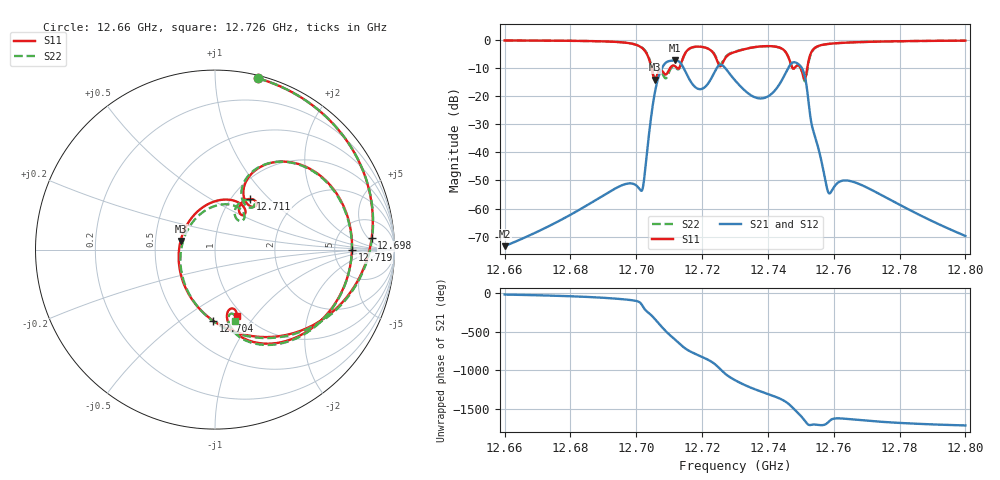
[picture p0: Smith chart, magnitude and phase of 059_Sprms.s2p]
! TOUCHSTONE file generated by CST MICROWAVE STUDIO
! Date and time: Wed Jul 31 13:40:07 2024
! Project name: WaveGuide_BPF-Ver4.1_U-shape_Ku_T3_C4_CWA_2.cst
! Parameters = {cavity_h=16; cavity_l0=10; cavity_l1=15.1774; cavity_l2=16.853; cavity_l3=17.1206; cavity_l4=17.2337; cavity_l5=17.166; cavity_l6=17.5871; cavity_r=2.5; cavity_screw_l=0.5; cavity_screw_r=1.5; cavity_w=8; iris_h00=0; iris_h01=8.8184; iris_h112=0; iris_h12=5.5876; iris_h211=3.6609; ir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
! Header version: 2018
! Port assignment regex: !\s*Touchstone port\s*([0-9]+)\s*=\s*(CST MWS port|CST DS port)\s*([0-9]+|Zmin|Zmax)\s*\(\"(.*)\"\)(\s*mode\s*([0-9]+))?.*
! Touchstone port assignment:
! Touchstone port 1 = CST MWS port 1 ("")
! Touchstone port 2 = CST MWS port 2 ("")
# GHz S RI R 50
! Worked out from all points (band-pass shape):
!   5001 points, 12.66 GHz to 12.8 GHz, reference 50 ohm
!   highest |S21| = -7.27 dB at 12.712 GHz (marker M1); lowest = -73.4 dB at 12.66 GHz (marker M2)
!   |S21| within 3 dB of the highest: 12.70768 GHz to 12.71453 GHz (6.849 MHz wide, 0.0539 % of centre); 12.74601 GHz to 12.75046 GHz (4.449 MHz wide, 0.0349 % of centre)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
!   lowest |S11| = -14.1 dB at 12.706 GHz (marker M3), VSWR 1.49, Z = 33.8 + j3.43 ohm
!   |S11| at or under -10 dB: 12.70463 GHz to 12.71027 GHz (5.64 MHz wide, 0.0444 % of centre); 12.71241 GHz to 12.71297 GHz (558.2 kHz wide, 0.00439 % of centre); 12.74996 GHz to 12.75194 GHz (1.978 MHz wide, 0.0155 % of centre)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
!   |S22| runs from -14.7 to -0.1 dB; largest |S21 - S12| = 1e-09
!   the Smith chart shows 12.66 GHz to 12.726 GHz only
!   S11 on the Smith chart (normalised r, x): 12.66 GHz: 0.02, +1.28; 12.698 GHz: 12, +6; 12.704 GHz: 0.72, -0.67; 12.711 GHz: 1.21, +0.78; 12.719 GHz: 7.45, -0.04; 12.726 GHz: 0.93, -0.82
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12.66  0.2395 0.9541  0.000203 -6.6e-05  0.000203 -6.6e-05  0.2395 0.954
12.68335  0.6192 0.7399  0.0007 -0.000714  0.0007 -0.000714  0.6218 0.7375
12.69808  0.873 0.0642  9.39e-05 -0.00281  9.39e-05 -0.00281  0.8749 0.0613
12.70178  0.615 -0.3783  -0.00193 -0.000879  -0.00193 -0.000879  0.6265 -0.3764
12.70421  -0.011 -0.3958  0.0011 0.031  0.0011 0.031  0.0154 -0.4161
12.70564  -0.1916 0.0487  0.1039 0.05  0.1039 0.05  -0.186 0.0149
12.70668  -0.00493 0.2678  0.1911 -0.0904  0.1911 -0.0904  -0.00566 0.2414
12.71076  0.1952 0.2822  -0.3925 0.174  -0.3925 0.174  0.1752 0.276
12.71177  0.232 0.2523  -0.2111 0.3778  -0.2111 0.3778  0.2197 0.2486
12.71421  0.213 0.432  0.2996 0.1458  0.2996 0.1458  0.2016 0.4284
12.71916  0.7633 -0.00117  0.000901 -0.1337  0.000901 -0.1337  0.7624 -0.00524
12.72401  0.1516 -0.4896  -0.2602 0.1153  -0.2602 0.1153  0.1622 -0.5021
12.72625  0.1217 -0.3726  0.1539 0.3177  0.1539 0.3177  0.1108 -0.3986
12.73  -0.5327 -0.3059  0.1305 -0.1408  0.1305 -0.1408  -0.5364 -0.3184
12.73683  0.0248 0.7607  -0.0925 -0.00309  -0.0925 -0.00309  -0.00165 0.7583
12.74263  0.7341 0.1923  -0.00475 0.1375  -0.00475 0.1375  0.7288 0.196
12.74674  0.3141 -0.2605  0.3535 -0.0739  0.3535 -0.0739  0.3089 -0.265
12.74868  0.3186 -0.1358  -0.0145 -0.392  -0.0145 -0.392  0.3109 -0.1464
12.75335  0.6296 -0.0479  -0.00301 0.0301  -0.00301 0.0301  0.6151 -0.0372
12.75856  0.3694 -0.7723  -0.00141 0.00123  -0.00141 0.00123  0.3579 -0.7761
12.77668  -0.7931 -0.5168  -0.000899 0.00118  -0.000899 0.00118  -0.8 -0.5075
12.8  -0.9684 0.1238  2.26e-05 0.000324  2.26e-05 0.000324  -0.9682 0.1276
